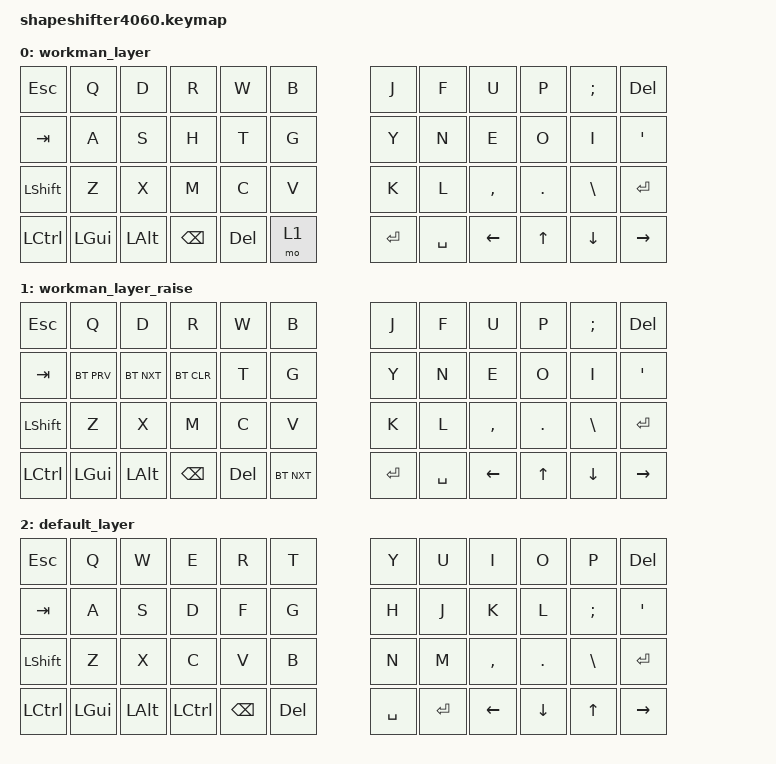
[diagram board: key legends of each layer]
/*
 * Copyright (c) 2020 The ZMK Contributors
 *
 * SPDX-License-Identifier: MIT
 */

#include <behaviors.dtsi>
#include <dt-bindings/zmk/keys.h>
#include <dt-bindings/zmk/bt.h>
#include <dt-bindings/zmk/outputs.h>

/ {
    keymap {
        compatible = "zmk,keymap";

        workman_layer {
            // ----------------------------------------------------------------------------------------------------------
            // |  ESC  |  1   |  2   |  3   |  4   |  5   |-------|-------|   6   |  7    |  8   |  9   |   0   | BSPC  |
            // |  TAB  |  Q   |  W   |  E   |  R   |  T   |-------|-------|   Y   |  U    |  I   |  O   |   P   |  \    |
            // | SHIFT |  A   |  S   |  D   |  F   |  G   |-------|-------|   H   |  J    |  K   |  L   |   ;   |  '    |
            // | CTRL  |  Z   |  X   |  C   |  V   |  B   |-------|-------|   N   |  M    |  ,   |  .   |   /   | ENTER |
            // |-------|ADJUST| LCTL | LALT | LGUI | LOWR | SPACE | SPACE |  RAIS | LARW | DARW | UARW  | RARW  |-------|
			bindings = <
            &kp ESC   &kp Q    &kp D    &kp R     &kp W     &kp B               &kp J     &kp F   &kp U     &kp P    &kp SEMI &kp DEL
            &kp TAB   &kp A    &kp S    &kp H     &kp T     &kp G               &kp Y     &kp N   &kp E     &kp O    &kp I    &kp SQT
            &kp LSHFT &kp Z    &kp X    &kp M     &kp C     &kp V               &kp K     &kp L   &kp COMMA &kp DOT  &kp BSLH &kp RET
            &kp LCTRL &kp LGUI &kp LALT &kp BSPC  &kp DEL  &mo 1         &kp RET &kp SPACE &kp LEFT  &kp UP &kp DOWN   &kp RIGHT
			>;
        };

        workman_layer_raise {
            // ----------------------------------------------------------------------------------------------------------
            // |  ESC  |  1   |  2   |  3   |  4   |  5   |-------|-------|   6   |  7    |  8   |  9   |   0   | BSPC  |
            // |  TAB  |  Q   |  W   |  E   |  R   |  T   |-------|-------|   Y   |  U    |  I   |  O   |   P   |  \    |
            // | SHIFT |  A   |  S   |  D   |  F   |  G   |-------|-------|   H   |  J    |  K   |  L   |   ;   |  '    |
            // | CTRL  |  Z   |  X   |  C   |  V   |  B   |-------|-------|   N   |  M    |  ,   |  .   |   /   | ENTER |
            // |-------|ADJUST| LCTL | LALT | LGUI | LOWR | SPACE | SPACE |  RAIS | LARW | DARW | UARW  | RARW  |-------|
            bindings = <
            &kp ESC   &kp Q    &kp D    &kp R     &kp W     &kp B               &kp J     &kp F   &kp U     &kp P    &kp SEMI &kp DEL
            &kp TAB   &bt BT_PRV  &bt BT_NXT   &bt BT_CLR   &kp T     &kp G               &kp Y     &kp N   &kp E     &kp O    &kp I    &kp SQT
            &kp LSHFT &kp Z    &kp X    &kp M     &kp C     &kp V               &kp K     &kp L   &kp COMMA &kp DOT  &kp BSLH &kp RET
            &kp LCTRL &kp LGUI &kp LALT &kp BSPC  &kp DEL  &bt BT_NXT         &kp RET &kp SPACE &kp LEFT  &kp UP &kp DOWN   &kp RIGHT
            >;
        };

        default_layer {
            // ----------------------------------------------------------------------------------------------------------
            // |  ESC  |  1   |  2   |  3   |  4   |  5   |-------|-------|   6   |  7    |  8   |  9   |   0   | BSPC  |
            // |  TAB  |  Q   |  W   |  E   |  R   |  T   |-------|-------|   Y   |  U    |  I   |  O   |   P   |  \    |
            // | SHIFT |  A   |  S   |  D   |  F   |  G   |-------|-------|   H   |  J    |  K   |  L   |   ;   |  '    |
            // | CTRL  |  Z   |  X   |  C   |  V   |  B   |-------|-------|   N   |  M    |  ,   |  .   |   /   | ENTER |
            // |-------|ADJUST| LCTL | LALT | LGUI | LOWR | SPACE | SPACE |  RAIS | LARW | DARW | UARW  | RARW  |-------|
            bindings = <
            &kp ESC   &kp Q    &kp W    &kp E     &kp R     &kp T               &kp Y     &kp U   &kp I     &kp O    &kp P    &kp DEL
            &kp TAB   &kp A    &kp S    &kp D     &kp F     &kp G               &kp H     &kp J   &kp K     &kp L    &kp SEMI &kp SQT
            &kp LSHFT &kp Z    &kp X    &kp C     &kp V     &kp B               &kp N     &kp M   &kp COMMA &kp DOT  &kp BSLH &kp RET
            &kp LCTRL &kp LGUI &kp LALT &kp LCTRL &kp BSPC  &kp DEL             &kp SPACE &kp RET &kp LEFT  &kp DOWN &kp UP   &kp RIGHT
            >;
        };

//        lower {
//            // ----------------------------------------------------------------------------------------------------------
//            // |  ESC  |  F2  |  F3  |  F4  |  F5  |  F6  |-------|-------|   F7  |  F8   |  F9  | F10  |  F11  |  F12  |
//            // |   ~   |  !   |  @   |  #   |  $   |  %   |-------|-------|   ^   |   &   |  *   |  (   |   )   |  DEL  |
//            // |       |  F1  |  F2  |  F3  |  F4  |  F5  |-------|-------|   F6  |   _   |  +   |  {   |   }   |   |   |
//            // |       |  F7  |  F8  |  F9  |  F10 |  F11 |-------|-------|   F12 | LS(#) |LS(|) |      |       |       |
//            // |-------|      |      |      |      |      |       |       |       | NEXT  | Vol- | Vol+ | PLAY  |-------|
//            bindings = <
//                &kp ESC   &kp F2   &kp F3   &kp F4   &kp F5    &kp F6                  &kp F7    &kp F8              &kp F9              &kp F10      &kp F11          &kp F12
//                &kp TILDE &kp EXCL &kp AT   &kp HASH &kp DLLR  &kp PRCNT               &kp CARET &kp AMPS            &kp ASTRK           &kp LPAR     &kp RPAR         &kp DEL
//                &trans    &kp F1   &kp F2   &kp F3   &kp F4    &kp F5                  &kp F6    &kp UNDER           &kp PLUS            &kp LBRC     &kp RBRC         &kp PIPE
//                &trans    &kp F7   &kp F8   &kp F9   &kp F10   &kp F11                 &kp F12   &kp LS(NON_US_HASH) &kp LS(NON_US_BSLH) &trans    &trans        &trans
//                          &trans   &trans   &trans   &trans    &trans    &trans &trans &mo 3     &kp C_NEXT          &kp C_VOL_DN        &kp C_VOL_UP &kp C_PLAY_PAUSE
//            >;
//        };
//
//        raise {
//            // ----------------------------------------------------------------------------------------------------------
//            // |  ESC  |  F2  |  F3  |  F4  |  F5  |  F6  |-------|-------|  F7   |  F8   |  F9  | F10  |  F11  |  F12  |
//            // |   ~   |  1   |  2   |  3   |  4   |  5   |-------|-------|  6    |   7   |  8   |  9   |   0   |  DEL  |
//            // |  DEL  |  F1  |  F2  |  F3  |  F4  |  F5  |-------|-------|  F6   |   -   |  =   |  [   |   ]   |   \   |
//            // |       |  F7  |  F8  |  F9  |  F10 |  F11 |-------|-------|  F12  |   #   |  |   |      |       |       |
//            // |-------|      |      |      |      |      |       |       |       |       |      |      |       |-------|
//            bindings = <
//                &kp ESC   &kp F2   &kp F3   &kp F4   &kp F5    &kp F6                &kp F7    &kp F8          &kp F9          &kp F10      &kp F11          &kp F12
//                &kp TILDE &kp N1   &kp N2   &kp N3   &kp N4    &kp N5                &kp N6    &kp N7          &kp N8          &kp N9       &kp N0           &kp DEL
//                &kp DEL   &kp F1   &kp F2   &kp F3   &kp F4    &kp F5                &kp F6    &kp MINUS       &kp EQUAL       &kp LBKT     &kp RBKT         &kp BSLH
//                &trans    &kp F7   &kp F8   &kp F9   &kp F10   &kp F11               &kp F12   &kp NON_US_HASH &kp NON_US_BSLH &trans       &trans           &trans
//                          &trans   &trans   &trans   &trans    &mo 3   &trans &trans &trans    &trans          &trans          &trans       &trans
//            >;
//        };
//
//        adjust {
//            // ----------------------------------------------------------------------------------------------------------
//            // |tog(4)|  F2  |  F3  |  F4  |  F5  |  F6  |------|------|  F7  |  F8  |  F9  |  F10 |  F11 |    F12    |
//            // |      |  NA  |  NA  |  NA  |  NA  |  NA  |------|------|  NA  |  NA  |  NA  |  NA  |  NA  |LALT(PRTSN)|
//            // |      |  NA  |  NA  |  NA  |  NA  |  NA  |------|------|  NA  |  NA  |  NA  |  NA  |  NA  |   PRTSN   |
//            // |      |  NA  |  NA  |  NA  |  NA  |  NA  |------|------|  NA  |  NA  |  NA  |  NA  |  NA  |LCTRL(DEL) |
//            // |------|      |      |      |      |      |BOOTLD|BOOTLD|      |      |      |      |      |-----------|
//            bindings = <
//                &tog 4 &kp F2 &kp F3 &kp F4 &kp F5 &kp F6                         &kp F7 &kp F8 &kp F9 &kp F10 &kp F11 &kp F12
//                &trans &none  &none  &none  &none  &none                          &none  &none  &none  &none   &none   &kp LA(PSCRN)
//                &trans &none  &none  &none  &none  &none                          &none  &none  &none  &none   &none   &kp PSCRN
//                &trans &none  &none  &none  &none  &none                          &none  &none  &none  &none   &none   &kp LC(DEL)
//                       &trans &trans &trans &trans &trans &bootloader &bootloader &trans &trans &trans &trans  &trans
//            >;
//        };
//
//        flock {
//            // ----------------------------------------------------------------------------------------------------------
//            // |tog(4) |  F2    |   F3   |   F4   |   F5   |   F6   |-------|-------|  F7  |  F8  |  F9  | F10 | F11 |      |
//            // |out tog|BT_SEL 0|BT_SEL 1|BT_SEL 2|BT_SEL 3|BT_SEL 4|-------|-------|BT_PRV|BT_NXT|BT_CLR|     |     |      |
//            // |       |        |        |        |        |        |-------|-------|      |      |      |     |     |      |
//            // |       |        |        |        |        |        |-------|-------|      |      |      |     |     |      |
//            // |-------|        |        |        |        |        |       |       |      |      |      |     |     |------|
//            bindings = <
//                &tog 4       &kp F2       &kp F3       &kp F4       &kp F5       &kp F6                     &kp F7     &kp F8     &kp F9     &kp F10 &kp F11 &trans
//                &out OUT_TOG &bt BT_SEL 0 &bt BT_SEL 1 &bt BT_SEL 2 &bt BT_SEL 3 &bt BT_SEL 4               &bt BT_PRV &bt BT_NXT &bt BT_CLR &trans  &trans  &trans
//                &trans       &trans       &trans       &trans       &trans       &trans                     &trans     &trans     &trans     &trans  &trans  &trans
//                &trans       &trans       &trans       &trans       &trans       &trans                     &trans     &trans     &trans     &trans  &trans  &trans
//                             &trans       &trans       &trans       &trans       &trans       &trans &trans &trans     &trans     &trans     &trans  &trans
//            >;
//        };
    };
};
